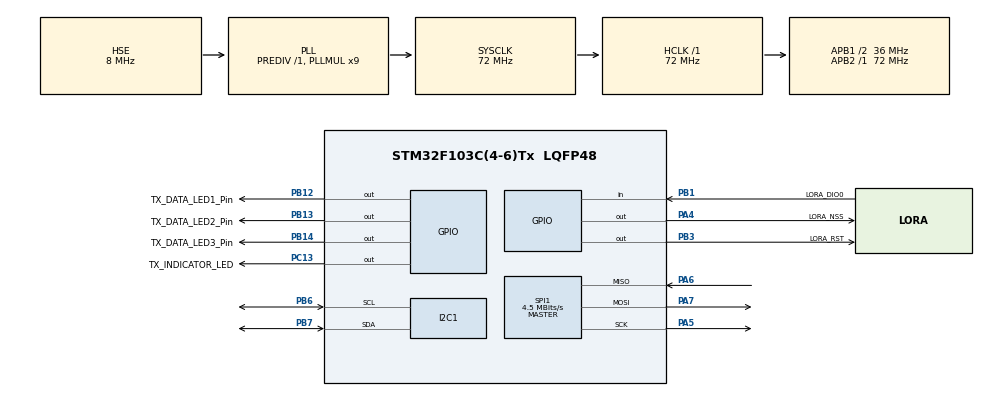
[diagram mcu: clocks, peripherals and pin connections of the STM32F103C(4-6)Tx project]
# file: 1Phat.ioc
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Mcu.Family=STM32F1
Mcu.Name=STM32F103C(4-6)Tx
Mcu.Package=LQFP48
NVIC.PriorityGroup=NVIC_PRIORITYGROUP_4
PA4.GPIO_Label=LORA_NSS
PA4.PinState=GPIO_PIN_SET
PA4.Signal=GPIO_Output
PA5.Mode=Full_Duplex_Master
PA5.Signal=SPI1_SCK
PA6.Mode=Full_Duplex_Master
PA6.Signal=SPI1_MISO
PA7.Mode=Full_Duplex_Master
PA7.Signal=SPI1_MOSI
PB1.GPIO_Label=LORA_DIO0
PB1.Signal=GPIO_Input
PB12.GPIO_Label=TX_DATA_LED1_Pin 
PB12.Signal=GPIO_Output
PB13.GPIO_Label=TX_DATA_LED2_Pin 
PB13.Signal=GPIO_Output
PB14.GPIO_Label=TX_DATA_LED3_Pin 
PB14.Signal=GPIO_Output
PB3.GPIO_Label=LORA_RST
PB3.Signal=GPIO_Output
PB6.Mode=I2C
PB6.Signal=I2C1_SCL
PB7.Mode=I2C
PB7.Signal=I2C1_SDA
PC13-TAMPER-RTC.GPIO_Label=TX_INDICATOR_LED
PC13-TAMPER-RTC.Signal=GPIO_Output
PD0-OSC_IN.Mode=HSE-External-Oscillator
PD0-OSC_IN.Signal=RCC_OSC_IN
PD1-OSC_OUT.Mode=HSE-External-Oscillator
PD1-OSC_OUT.Signal=RCC_OSC_OUT
ProjectManager.HeapSize=0x200
ProjectManager.StackSize=0x400
ProjectManager.TargetToolchain=STM32CubeIDE
RCC.AHBFreq_Value=72000000
RCC.APB1CLKDivider=RCC_HCLK_DIV2
RCC.APB1Freq_Value=36000000
RCC.APB1TimFreq_Value=72000000
RCC.APB2Freq_Value=72000000
RCC.APB2TimFreq_Value=72000000
RCC.HCLKFreq_Value=72000000
RCC.PLLMUL=RCC_PLL_MUL9
RCC.PLLSourceVirtual=RCC_PLLSOURCE_HSE
RCC.SYSCLKFreq_VALUE=72000000
RCC.SYSCLKSource=RCC_SYSCLKSOURCE_PLLCLK
RCC.USBFreq_Value=72000000
SPI1.BaudRatePrescaler=SPI_BAUDRATEPRESCALER_16
SPI1.CalculateBaudRate=4.5 MBits/s
SPI1.Direction=SPI_DIRECTION_2LINES
SPI1.Mode=SPI_MODE_MASTER
SPI1.VirtualType=VM_MASTER
VP_SYS_VS_ND.Mode=No_Debug
board=custom

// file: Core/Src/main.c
/* USER CODE BEGIN Header */
/**
  ******************************************************************************
  * @file           : main.c
  * @brief          : Main program body
  ******************************************************************************
  * @attention
  *
  * Copyright (c) 2025 STMicroelectronics.
  * All rights reserved.
  *
  * This software is licensed under terms that can be found in the LICENSE file
  * in the root directory of this software component.
  * If no LICENSE file comes with this software, it is provided AS-IS.
  *
  ******************************************************************************
  */
/* USER CODE END Header */
#include "main.h"
#include "i2c.h"
#include "spi.h"
#include "gpio.h"

/* USER CODE BEGIN PTD */
typedef struct {
    int16_t Accel_X_RAW;
    int16_t Accel_Y_RAW;
    int16_t Accel_Z_RAW;
    float Ax, Ay, Az;
} MPU6050_Data_t;
/* USER CODE END PTD */

/* USER CODE BEGIN PD */

// --- MPU6050 Defines ---
#define MPU6050_I2C_ADDR        (0x68 << 1)
#define MPU6050_REG_WHO_AM_I    0x75
#define MPU6050_REG_PWR_MGMT_1  0x6B
#define MPU6050_REG_SMPLRT_DIV  0x19
#define MPU6050_REG_ACCEL_CONFIG 0x1C
#define MPU6050_REG_GYRO_CONFIG 0x1B
#define MPU6050_REG_ACCEL_XOUT_H 0x3B

// --- LED Defines ---
// LED PB12 cho trục Xoay (Roll)
#ifndef MPU_LED_X_Pin
#define MPU_LED_X_Pin           GPIO_PIN_12
#define MPU_LED_X_GPIO_Port     GPIOB
#endif
// LED PB13 cho Cúi xuống (Pitch Down)
#ifndef MPU_LED_Y_Pin
#define MPU_LED_Y_Pin           GPIO_PIN_13
#define MPU_LED_Y_GPIO_Port     GPIOB
#endif
// LED PB14 cho Ngửa lên (Pitch Up)
#ifndef MPU_LED_Z_Pin
#define MPU_LED_Z_Pin           GPIO_PIN_14
#define MPU_LED_Z_GPIO_Port     GPIOB
#endif

// LED trạng thái chung trên chân PC13
#ifndef STATUS_LED_Pin
#define STATUS_LED_Pin          GPIO_PIN_13
#define STATUS_LED_GPIO_Port    GPIOC
#endif

// --- Ngưỡng logic MPU ---
// Khi đặt trên mặt bàn (phẳng)
#define FLAT_AZ_MIN_ABS      0.85f // Gia tốc Z (tuyệt đối) phải LỚN HƠN
#define FLAT_AXY_MAX_ABS     0.30f // Gia tốc X và Y (tuyệt đối) phải NHỎ HƠN

// Khi xoay/nghiêng
#define TILT_AX_RIGHT_THRESHOLD  0.45f  // Xoay phải: Ax > ngưỡng
#define TILT_AX_LEFT_THRESHOLD  -0.45f  // Xoay trái: Ax < ngưỡng
#define TILT_AY_UP_THRESHOLD     0.45f  // Ngửa lên: Ay > ngưỡng
#define TILT_AY_DOWN_THRESHOLD  -0.45f  // Cúi xuống: Ay < ngưỡng

// Để xác định nghiêng rõ ràng, các trục khác không nên quá lớn
#define OTHER_AXES_MAX_ABS_FOR_CLEAR_TILT 0.75f

/* USER CODE END PD */

void SystemClock_Config(void);

/* USER CODE BEGIN 0 */
PUTCHAR_PROTOTYPE
{
  ITM_SendChar(ch);
  return ch;
}

// --- MPU6050 Functions Definitions ---
HAL_StatusTypeDef MPU6050_Write_Reg(uint8_t reg, uint8_t value) {
    return HAL_I2C_Mem_Write(&hi2c1, MPU6050_I2C_ADDR, reg, I2C_MEMADD_SIZE_8BIT, &value, 1, HAL_MAX_DELAY);
}
HAL_StatusTypeDef MPU6050_Read_Reg(uint8_t reg, uint8_t *data) {
    return HAL_I2C_Mem_Read(&hi2c1, MPU6050_I2C_ADDR, reg, I2C_MEMADD_SIZE_8BIT, data, 1, HAL_MAX_DELAY);
}
HAL_StatusTypeDef MPU6050_Read_Multi_Reg(uint8_t reg, uint8_t *data, uint16_t count) {
    return HAL_I2C_Mem_Read(&hi2c1, MPU6050_I2C_ADDR, reg, I2C_MEMADD_SIZE_8BIT, data, count, HAL_MAX_DELAY);
}
HAL_StatusTypeDef MPU6050_Init_Device(void) {
    uint8_t check_val; HAL_StatusTypeDef status;
    status = MPU6050_Read_Reg(MPU6050_REG_WHO_AM_I, &check_val);
    if (status != HAL_OK) return HAL_ERROR;
    if (check_val != 0x68) return HAL_ERROR;
    status = MPU6050_Write_Reg(MPU6050_REG_PWR_MGMT_1, 0x00); if (status != HAL_OK) return HAL_ERROR;
    HAL_Delay(10);
    status = MPU6050_Write_Reg(MPU6050_REG_SMPLRT_DIV, 0x07); if (status != HAL_OK) return HAL_ERROR;
    status = MPU6050_Write_Reg(MPU6050_REG_ACCEL_CONFIG, 0x00); if (status != HAL_OK) return HAL_ERROR; // +/- 2g
    status = MPU6050_Write_Reg(MPU6050_REG_GYRO_CONFIG, 0x00); if (status != HAL_OK) return HAL_ERROR;   // +/- 250 deg/s
    return HAL_OK;
}
HAL_StatusTypeDef MPU6050_Read_Accel_Raw(MPU6050_Data_t *data_struct) {
    uint8_t rec_data[6]; HAL_StatusTypeDef status;
    status = MPU6050_Read_Multi_Reg(MPU6050_REG_ACCEL_XOUT_H, rec_data, 6);
    if (status != HAL_OK) { return HAL_ERROR; }
    data_struct->Accel_X_RAW = (int16_t)(rec_data[0] << 8 | rec_data[1]);
    data_struct->Accel_Y_RAW = (int16_t)(rec_data[2] << 8 | rec_data[3]);
    data_struct->Accel_Z_RAW = (int16_t)(rec_data[4] << 8 | rec_data[5]);
    return HAL_OK;
}
void MPU6050_Convert_To_G(MPU6050_Data_t *data_struct) {
    float accel_sensitivity = 16384.0f; // Độ nhạy cho thang đo +/- 2g
    data_struct->Ax = data_struct->Accel_X_RAW / accel_sensitivity;
    data_struct->Ay = data_struct->Accel_Y_RAW / accel_sensitivity;
    data_struct->Az = data_struct->Accel_Z_RAW / accel_sensitivity;
}

// --- LED Control Functions ---
void Turn_Off_MPU_LEDs(void) {
  HAL_GPIO_WritePin(MPU_LED_X_GPIO_Port, MPU_LED_X_Pin, GPIO_PIN_RESET); // PB12
  HAL_GPIO_WritePin(MPU_LED_Y_GPIO_Port, MPU_LED_Y_Pin, GPIO_PIN_RESET); // PB13
  HAL_GPIO_WritePin(MPU_LED_Z_GPIO_Port, MPU_LED_Z_Pin, GPIO_PIN_RESET); // PB14
}

// --- Status Indication Function ---
void Indicate_Overall_Status(int status_code) {
  #ifdef STATUS_LED_Pin
  switch(status_code) {
    case 0: // Lỗi nghiêm trọng -> Nháy chậm liên tục
      while (1) {
        HAL_GPIO_TogglePin(STATUS_LED_GPIO_Port, STATUS_LED_Pin); HAL_Delay(500);
      }
      break;
    case 1: // Khởi tạo OK -> Sáng 0.5s rồi tắt
      HAL_GPIO_WritePin(STATUS_LED_GPIO_Port, STATUS_LED_Pin, GPIO_PIN_RESET); HAL_Delay(500);
      HAL_GPIO_WritePin(STATUS_LED_GPIO_Port, STATUS_LED_Pin, GPIO_PIN_SET);
      break;
    case 2: // Đang gửi TX -> Chớp nhanh 1 lần
      HAL_GPIO_WritePin(STATUS_LED_GPIO_Port, STATUS_LED_Pin, GPIO_PIN_RESET); HAL_Delay(30);
      HAL_GPIO_WritePin(STATUS_LED_GPIO_Port, STATUS_LED_Pin, GPIO_PIN_SET);
      break;
    case 3: // Gửi TX thất bại -> Chớp nhanh 3 lần
      for(int i=0; i<3; i++){ HAL_GPIO_TogglePin(STATUS_LED_GPIO_Port, STATUS_LED_Pin); HAL_Delay(80); HAL_GPIO_TogglePin(STATUS_LED_GPIO_Port, STATUS_LED_Pin); HAL_Delay(80); }
      HAL_GPIO_WritePin(STATUS_LED_GPIO_Port, STATUS_LED_Pin, GPIO_PIN_SET);
      break;
    case 4: // Đang thử lại MPU Init -> Chớp 2 lần
      for (int k = 0; k < 2; k++) { HAL_GPIO_TogglePin(STATUS_LED_GPIO_Port, STATUS_LED_Pin); HAL_Delay(120); HAL_GPIO_TogglePin(STATUS_LED_GPIO_Port, STATUS_LED_Pin); HAL_Delay(120); }
      HAL_GPIO_WritePin(STATUS_LED_GPIO_Port, STATUS_LED_Pin, GPIO_PIN_SET);
      break;
  }
  #endif
}
/* USER CODE END 0 */

int main(void)
{

  /* MCU Configuration--------------------------------------------------------*/

  /* Reset of all peripherals, Initializes the Flash interface and the Systick. */
  HAL_Init();

  /* Configure the system clock */
  SystemClock_Config();

  /* Initialize all configured peripherals */
  MX_GPIO_Init();
  MX_SPI1_Init();
  MX_I2C1_Init();
  /* USER CODE BEGIN 2 */
  printf("System Initialized. MPU6050 + LoRa TX - Combined Tilt Logic.\r\n");

  #ifdef STATUS_LED_Pin
    // Giả định LED nối với VCC, set PIN_SET để tắt
    HAL_GPIO_WritePin(STATUS_LED_GPIO_Port, STATUS_LED_Pin, GPIO_PIN_SET);
  #endif
  Turn_Off_MPU_LEDs();

  // --- KHỞI TẠO MPU6050 ---
  printf("Locating MPU6050...\r\n");
  if (HAL_I2C_IsDeviceReady(&hi2c1, MPU6050_I2C_ADDR, 3, 100) != HAL_OK) {
      printf("FATAL: MPU6050 NOT FOUND ON I2C BUS.\r\n");
      system_status_flag = 1; // MPU not found
      Indicate_Overall_Status(0); // Dừng với lỗi nghiêm trọng
  }

  printf("MPU6050 found. Initializing device...\r\n");
  while (MPU6050_Init_Device() != HAL_OK && system_status_flag == 0) {
      system_status_flag = 2; // MPU Init Retrying
      printf("MPU6050 Init Failed. Retrying in 2s...\r\n");
      Indicate_Overall_Status(4); // Nháy LED báo thử lại
      HAL_Delay(2000);
  }
  if (system_status_flag == 0) {
    system_status_flag = 0; // Reset lại cờ nếu trước đó là 2
    printf("MPU6050 Initialized Successfully.\r\n");
    Indicate_Overall_Status(1); // Báo khởi tạo thành công
  }

  // --- KHỞI TẠO LORA ---
  if (system_status_flag == 0) {
    printf("Initializing LoRa TX Module...\r\n");
    LoRa_HW_TX.spi = &hspi1;
    LoRa_HW_TX.nss.port = LORA_NSS_GPIO_Port; LoRa_HW_TX.nss.pin = LORA_NSS_Pin;
    LoRa_HW_TX.reset.port = LORA_RST_GPIO_Port; LoRa_HW_TX.reset.pin = LORA_RST_Pin;
    LoRaModule_TX.hw = &LoRa_HW_TX;

    SX1278_hw_Reset(&LoRa_HW_TX);
    SX1278_init(&LoRaModule_TX,
                LORA_FREQUENCY_HZ, LORA_TX_POWER, LORA_SF,
                LORA_BANDWIDTH, LORA_CODING_RATE, LORA_CRC_ENABLE,
                LORA_PACKET_MAX_LEN);
    uint8_t version = SX1278_SPIRead(&LoRaModule_TX, REG_LR_VERSION);

    if (version == 0x12) {
      printf("LoRa TX Module Initialized. Version: 0x%02X\r\n", version);
      Indicate_Overall_Status(1);
    } else {
      printf("LoRa TX Module Init FAILED! Read Version: 0x%02X\r\n", version);
      system_status_flag = 3; // LoRa init failed
      Indicate_Overall_Status(0); // Dừng với lỗi nghiêm trọng
    }
  }
  /* USER CODE END 2 */

  /* Infinite loop */
  while (1)
  {

    /* USER CODE BEGIN 3 */
    if (system_status_flag == 0) { // Chỉ hoạt động nếu cả MPU và LoRa đều OK
        if (MPU6050_Read_Accel_Raw(&mpu_data) == HAL_OK) {
            MPU6050_Convert_To_G(&mpu_data);

            Turn_Off_MPU_LEDs(); // Tắt hết LED trước khi kiểm tra
            data_to_send_lora = 0; // Mặc định là trạng thái 0

            float ax = mpu_data.Ax;
            float ay = mpu_data.Ay;
            float az = mpu_data.Az;
            float abs_ax = fabs(ax);
            float abs_ay = fabs(ay);
            float abs_az = fabs(az);

            // 1. KIỂM TRA TRẠNG THÁI "PHẲNG"
            if (abs_az > FLAT_AZ_MIN_ABS && abs_ax < FLAT_AXY_MAX_ABS && abs_ay < FLAT_AXY_MAX_ABS) {
                data_to_send_lora = 0;
            }

            }
            // 3. KIỂM TRA CÁC TRẠNG THÁI RIÊNG LẺ
            // Chỉ xoay phải
            else if (ax > TILT_AX_RIGHT_THRESHOLD && abs_ay < OTHER_AXES_MAX_ABS_FOR_CLEAR_TILT) {
                HAL_GPIO_WritePin(MPU_LED_X_GPIO_Port, MPU_LED_X_Pin, GPIO_PIN_SET);
                data_to_send_lora = 1;
            }
            // Chỉ xoay trái
            else if (ax < TILT_AX_LEFT_THRESHOLD && abs_ay < OTHER_AXES_MAX_ABS_FOR_CLEAR_TILT) {
                HAL_GPIO_WritePin(MPU_LED_X_GPIO_Port, MPU_LED_X_Pin, GPIO_PIN_SET);
                data_to_send_lora = 2;
            }
            // Chỉ ngửa lên
            else if (ay > TILT_AY_UP_THRESHOLD && abs_ax < OTHER_AXES_MAX_ABS_FOR_CLEAR_TILT) {
                HAL_GPIO_WritePin(MPU_LED_Z_GPIO_Port, MPU_LED_Z_Pin, GPIO_PIN_SET);
                data_to_send_lora = 3;
            }
            // Chỉ cúi xuống
            else if (ay < TILT_AY_DOWN_THRESHOLD && abs_ax < OTHER_AXES_MAX_ABS_FOR_CLEAR_TILT) {
                HAL_GPIO_WritePin(MPU_LED_Y_GPIO_Port, MPU_LED_Y_Pin, GPIO_PIN_SET);
                data_to_send_lora = 4;
            }

            // GỬI DỮ LIỆU QUA LORA (Gửi trong mọi trường hợp)
            printf("State Detected: %d -> Sending over LoRa...\r\n", data_to_send_lora);
            Indicate_Overall_Status(2); // Báo hiệu hành động TX
            lora_tx_status_from_lib = SX1278_transmit(&LoRaModule_TX, &data_to_send_lora, 1, 200);

            if (lora_tx_status_from_lib != 1) {
                printf("LoRa Packet Send FAILED! Lib Status: %d\r\n", lora_tx_status_from_lib);
                Indicate_Overall_Status(3); // Báo hiệu TX Fail
            }

        } else { // Lỗi đọc MPU
            Turn_Off_MPU_LEDs();
            HAL_Delay(100);
        }

        HAL_Delay(200); // Delay giữa các lần đọc và gửi
    }
  /* USER CODE END 3 */
}

void SystemClock_Config(void)
{
  RCC_OscInitTypeDef RCC_OscInitStruct = {0};
  RCC_ClkInitTypeDef RCC_ClkInitStruct = {0};

  /** Initializes the RCC Oscillators according to the specified parameters
  * in the RCC_OscInitTypeDef structure.
  */
  RCC_OscInitStruct.OscillatorType = RCC_OSCILLATORTYPE_HSE;
  RCC_OscInitStruct.HSEState = RCC_HSE_ON;
  RCC_OscInitStruct.HSEPredivValue = RCC_HSE_PREDIV_DIV1;
  RCC_OscInitStruct.HSIState = RCC_HSI_ON;
  RCC_OscInitStruct.PLL.PLLState = RCC_PLL_ON;
  RCC_OscInitStruct.PLL.PLLSource = RCC_PLLSOURCE_HSE;
  RCC_OscInitStruct.PLL.PLLMUL = RCC_PLL_MUL9;
  if (HAL_RCC_OscConfig(&RCC_OscInitStruct) != HAL_OK)
  {
    Error_Handler();
  }

  /** Initializes the CPU, AHB and APB buses clocks
  */
  RCC_ClkInitStruct.ClockType = RCC_CLOCKTYPE_HCLK|RCC_CLOCKTYPE_SYSCLK
                              |RCC_CLOCKTYPE_PCLK1|RCC_CLOCKTYPE_PCLK2;
  RCC_ClkInitStruct.SYSCLKSource = RCC_SYSCLKSOURCE_PLLCLK;
  RCC_ClkInitStruct.AHBCLKDivider = RCC_SYSCLK_DIV1;
  RCC_ClkInitStruct.APB1CLKDivider = RCC_HCLK_DIV2;
  RCC_ClkInitStruct.APB2CLKDivider = RCC_HCLK_DIV1;

  if (HAL_RCC_ClockConfig(&RCC_ClkInitStruct, FLASH_LATENCY_2) != HAL_OK)
  {
    Error_Handler();
  }
}

/* USER CODE BEGIN 4 */
// Các hàm hỗ trợ đã được chuyển lên USER CODE 0
/* USER CODE END 4 */

void Error_Handler(void)
{
  /* USER CODE BEGIN Error_Handler_Debug */
  printf("FATAL SYSTEM ERROR in Error_Handler().\r\n");
  __disable_irq();
  while (1) {
      #ifdef STATUS_LED_Pin
      // Nháy cực nhanh để báo lỗi hệ thống
      HAL_GPIO_TogglePin(STATUS_LED_GPIO_Port, STATUS_LED_Pin);
      HAL_Delay(50);
      #else
      HAL_Delay(100);
      #endif
  }
  /* USER CODE END Error_Handler_Debug */
}
